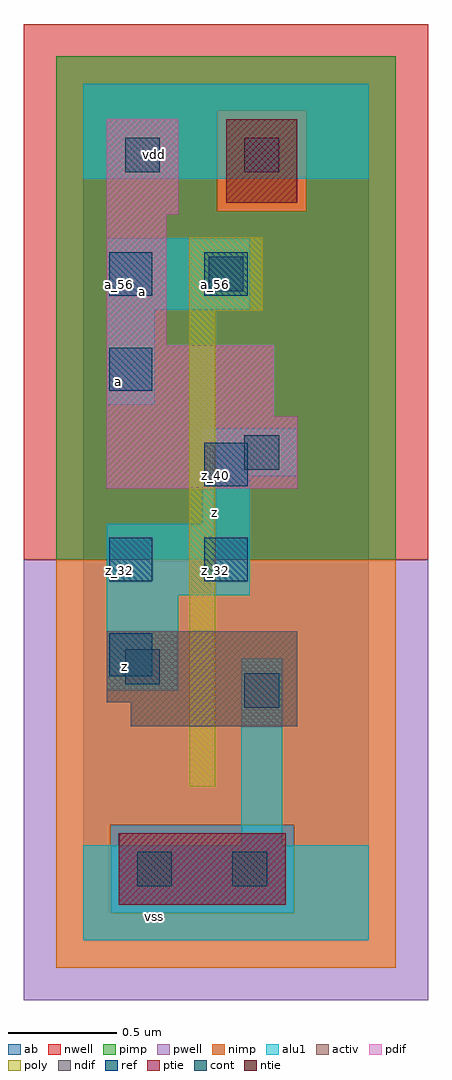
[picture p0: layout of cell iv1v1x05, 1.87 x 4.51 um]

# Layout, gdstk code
import gdstk
lib = gdstk.Library(unit=1e-6, precision=2.5e-09)
def R(c, l, rs):  # rectangles x0, y0, x1, y1
    for r in rs: c.add(gdstk.rectangle(r[:2], r[2:], *l))
ndif = (3, 0)
pdif = (4, 0)
ntie = (5, 0)
ptie = (6, 0)
ref = (24, 0)
cont = (25, 0)
pwell = (41, 0)
nwell = (42, 0)
activ = (43, 0)
pimp = (44, 0)
nimp = (45, 0)
poly = (46, 0)
alu1 = (49, 0)
ab = (63, 0)

iv1v1x05 = lib.new_cell('iv1v1x05')
R(iv1v1x05, ndif, [(0.22,0.99,0.99,1.1), (0.11,1.1,0.99,1.43)])
R(iv1v1x05, pdif, [(0.11,2.09,0.99,2.42), (0.11,2.42,0.88,2.75), (0.11,2.75,0.385,3.355), (0.11,3.355,0.44,3.795)])
R(iv1v1x05, ntie, [(0.66,3.41,0.99,3.795)])
R(iv1v1x05, ptie, [(0.165,0.165,0.935,0.495)])
R(iv1v1x05, ref, [(0.12,1.22,0.32,1.42), (0.12,1.66,0.32,1.86), (0.56,1.66,0.76,1.86), (0.56,2.1,0.76,2.3), (0.12,2.54,0.32,2.74), (0.12,2.98,0.32,3.18), (0.56,2.98,0.76,3.18)])
R(iv1v1x05, cont, [(0.25,0.25,0.41,0.41), (0.69,0.25,0.85,0.41), (0.745,1.075,0.905,1.235), (0.195,1.185,0.355,1.345), (0.745,2.175,0.905,2.335), (0.58,3,0.74,3.16), (0.195,3.55,0.355,3.71), (0.745,3.55,0.905,3.71)])
R(iv1v1x05, pwell, [(-0.275,-0.275,1.595,1.76)])
R(iv1v1x05, nwell, [(-0.275,1.76,1.595,4.235)])
R(iv1v1x05, activ, [(0.165,0.165,0.935,0.495), (0.22,0.99,0.99,1.1), (0.11,1.1,0.99,1.43), (0.11,2.09,0.99,2.42), (0.11,2.42,0.88,2.75), (0.11,2.75,0.385,3.355), (0.11,3.355,0.44,3.795), (0.66,3.41,0.99,3.795)])
R(iv1v1x05, pimp, [(0.125,0.125,0.975,0.535), (-0.125,1.76,1.445,3.37), (-0.125,3.37,0.62,3.835), (1.03,3.37,1.445,3.835), (-0.125,3.835,1.445,4.085)])
R(iv1v1x05, nimp, [(-0.125,-0.125,1.445,0.125), (-0.125,0.125,0.125,0.535), (0.975,0.125,1.445,0.535), (-0.125,0.535,1.445,1.76), (0.62,3.37,1.03,3.835)])
R(iv1v1x05, poly, [(0.49,0.71,0.61,2.91), (0.49,2.91,0.83,3.25)])
R(iv1v1x05, alu1, [(0,0,1.32,0.44), (0.73,0.44,0.92,1.305), (0.11,1.155,0.44,1.595), (0.11,1.595,0.77,1.925), (0.55,1.925,0.77,2.145), (0.55,2.145,0.99,2.365), (0.11,2.475,0.33,2.915), (0.11,2.915,0.77,3.245), (0,3.52,1.32,3.96)])
R(iv1v1x05, ab, [(0,0,1.32,3.96)])
iv1v1x05.add(gdstk.Label('vss', (0.33,0.11), layer=49, texttype=0))
iv1v1x05.add(gdstk.Label('z', (0.1925,1.265), layer=49, texttype=0))
iv1v1x05.add(gdstk.Label('z', (0.605,1.98), layer=49, texttype=0))
iv1v1x05.add(gdstk.Label('a', (0.165,2.585), layer=49, texttype=0))
iv1v1x05.add(gdstk.Label('a', (0.275,2.9975), layer=49, texttype=0))
iv1v1x05.add(gdstk.Label('vdd', (0.33,3.63), layer=49, texttype=0))
iv1v1x05.add(gdstk.Label('z_32', (0.61,1.71), layer=24, texttype=0))
iv1v1x05.add(gdstk.Label('z_40', (0.61,2.15), layer=24, texttype=0))
iv1v1x05.add(gdstk.Label('a_56', (0.61,3.03), layer=24, texttype=0))
iv1v1x05.add(gdstk.Label('z_24', (0.17,1.27), layer=24, texttype=0))
iv1v1x05.add(gdstk.Label('z_32', (0.17,1.71), layer=24, texttype=0))
iv1v1x05.add(gdstk.Label('a_48', (0.17,2.59), layer=24, texttype=0))
iv1v1x05.add(gdstk.Label('a_56', (0.17,3.03), layer=24, texttype=0))

lib.write_gds('iv1v1x05.gds')
